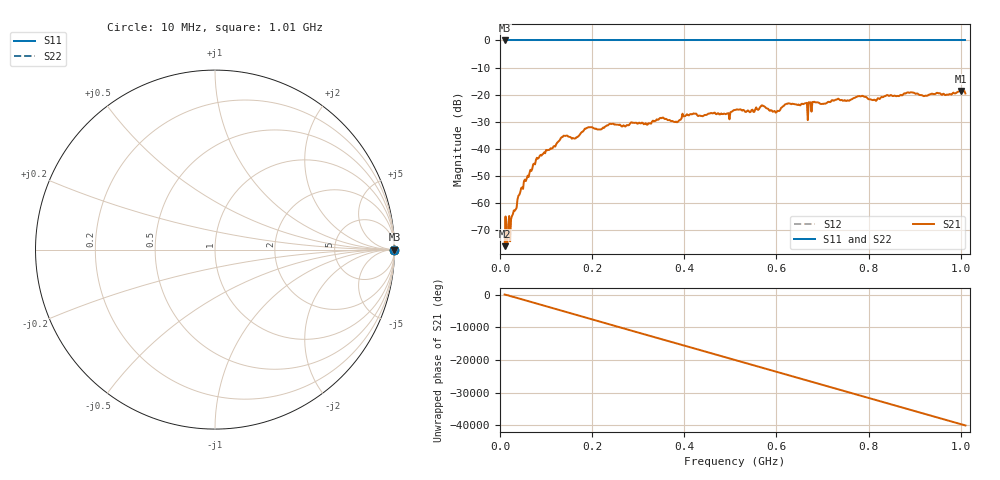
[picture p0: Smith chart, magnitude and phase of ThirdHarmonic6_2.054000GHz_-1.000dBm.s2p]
! 8/17/2025 12:37:26 AM
! C:\ANRITSUVNA\TEMP\TEMP.S2P
! CHANNEL.1
! TR.MEASUREMENT
! RAW.DATA
! RF.CORRECTION.OFF
! AVERAGING.OFF
! IF.BANDWIDTH: 5KHZ
! SWEEPTYPE:  FREQ.SWEEP(Linear)
! Reference Plane Port Info
! PORT:  PORT1  PORT2
! DISTANCE:  0  m  0  m
! TIME:  0  s  0  s
! PHASE.OFFSET:  0  deg.  0  deg.
! LOSS:  0  dB  0  dB
! REF.LOSS:  0  dB  0  dB
! REF.FREQ:  0  Hz  0  Hz
! Power Info
! POWER:  -20  dBm  -20  dBm
! EFF.POWER:  -20  dBm  -20  dBm
! SOURCE.ATTEN:  0  dB  0  dB
! TEST.ATTEN:  0  dB  0  dB
# GHZ S RI R 50.0
! FREQ.GHZ  S11RE  S11IM  S21RE  S21IM  S12RE  S12IM  S22RE  S22IM
!; PortSelection: Port_12
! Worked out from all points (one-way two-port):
!   501 points, 10 MHz to 1.01 GHz, reference 50 ohm
!   highest |S21| = -18.58 dB at 1 GHz (marker M1); lowest = -75.8 dB at 10 MHz (marker M2)
!   lowest |S11| = 0.0 dB at 10 MHz (marker M3)
!   |S11| at or under -10 dB: nowhere
!   |S22| runs from 0.0 to 0.0 dB; largest |S21 - S12| = 1.1
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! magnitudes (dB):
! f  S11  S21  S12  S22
! 10 MHz  0.0  -75.8  0.0  0.0
! 16 MHz  0.0  -74.9  0.0  0.0
! 18 MHz  0.0  -67.6  0.0  0.0
! 22 MHz  0.0  -74.0  0.0  0.0
! 44 MHz  0.0  -55.9  0.0  0.0
! 82 MHz  0.0  -43.6  0.0  0.0
! 136 MHz  0.0  -35.6  0.0  0.0
! 160 MHz  0.0  -36.1  0.0  0.0
! 178 MHz  0.0  -33.7  0.0  0.0
! 344 MHz  0.0  -29.2  0.0  0.0
! 382 MHz  0.0  -29.9  0.0  0.0
! 400 MHz  0.0  -27.9  0.0  0.0
! 494 MHz  0.0  -26.8  0.0  0.0
! 510 MHz  0.0  -25.6  0.0  0.0
! 570 MHz  0.0  -24.0  0.0  0.0
! 596 MHz  0.0  -26.0  0.0  0.0
! 624 MHz  0.0  -23.3  0.0  0.0
! 672 MHz  0.0  -23.0  0.0  0.0
! 678 MHz  0.0  -22.7  0.0  0.0
! 844 MHz  0.0  -20.4  0.0  0.0
! 1 GHz  0.0  -18.6  0.0  0.0
! 1.01 GHz  0.0  -19.6  0.0  0.0
